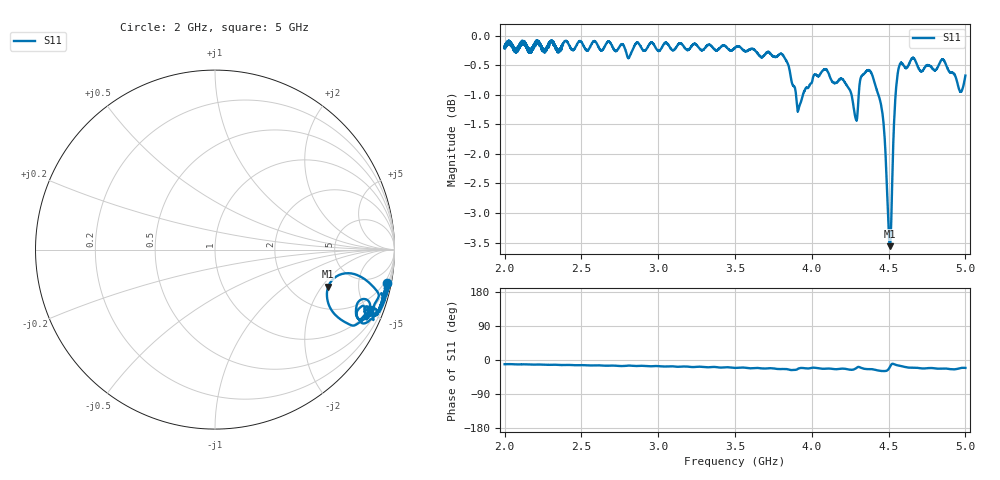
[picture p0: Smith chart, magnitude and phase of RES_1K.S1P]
!Agilent Technologies,E5071C,MY46214220,A.11.31
!Date: Fri Sep 22 12:48:32 2017
!Data & Calibration Information:
!Freq	S11:SOLT1(ON)
!PortZ  Port1:50+j0
!Above PortZ is port z conversion or system Z0 setting when saving the data.
!When reading, reference impedance value at option line is always used.
# Hz S dB R 50
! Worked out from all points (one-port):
!   10000 points, 2 GHz to 5 GHz, reference 50 ohm
!   lowest |S11| = -3.6 dB at 4.509 GHz (marker M1), VSWR 4.95, Z = 156 - j115 ohm
!   |S11| at or under -10 dB: nowhere
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2e9  -0.21 -11.1
2.375038e9  -0.16 -13.3
2.750075e9  -0.18 -15.8
2.813381e9  -0.35 -14.7
3.125113e9  -0.16 -17.9
3.50015e9  -0.20 -20.8
3.814281e9  -0.34 -23.7
3.875188e9  -0.83 -26.4
3.930993e9  -1.10 -20.8
4.020702e9  -0.66 -20.5
4.070807e9  -0.59 -23.2
4.205221e9  -0.75 -22.8
4.250225e9  -0.93 -25.7
4.281428e9  -1.35 -23.4
4.30363e9  -1.07 -18.2
4.345335e9  -0.63 -23.5
4.383438e9  -0.61 -24.0
4.457546e9  -1.27 -29.1
4.483648e9  -2.21 -28.7
4.49805e9  -3.17 -24.9
4.508851e9  -3.56 -18.2
4.527153e9  -2.11 -10.0
4.555356e9  -0.72 -13.9
4.625263e9  -0.52 -19.8
4.856286e9  -0.41 -22.3
4.918992e9  -0.63 -24.7
4.973597e9  -0.94 -20.8
5e9  -0.67 -20.9
